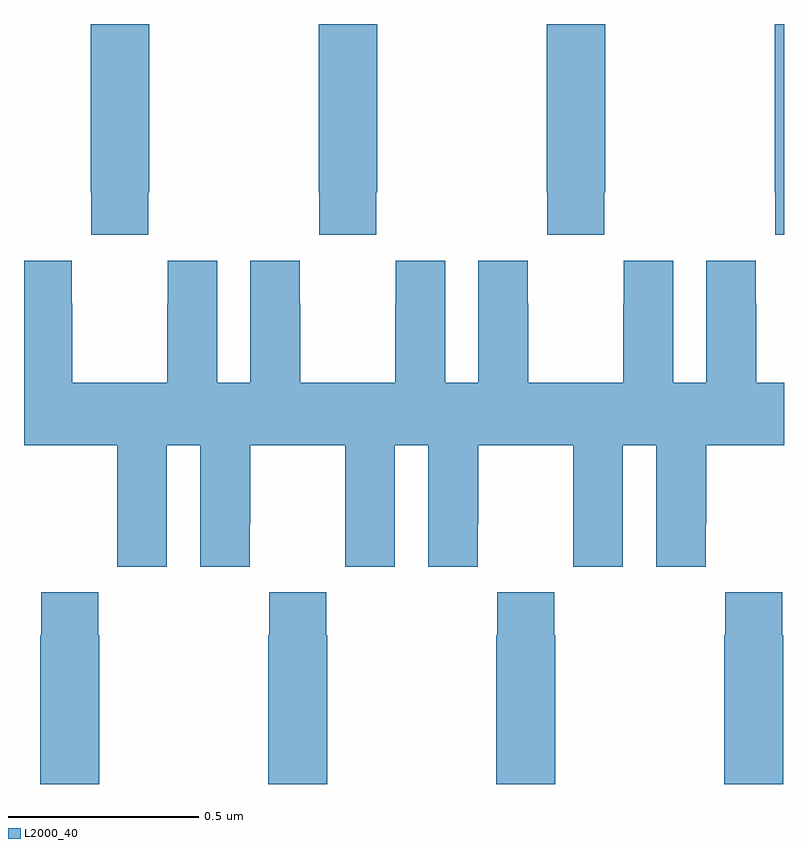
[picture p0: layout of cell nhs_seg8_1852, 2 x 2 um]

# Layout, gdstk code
import gdstk
lib = gdstk.Library(unit=1e-6, precision=1e-09)
def P(c, l, *ps):  # polygons
    for p in ps: c.add(gdstk.Polygon(p, *l))
L2000_40 = (2000, 40)

nhs_seg8_1852 = lib.new_cell('nhs_seg8_1852')
P(nhs_seg8_1852, L2000_40, [(136.527,1158.457),(136.53,1158.457),(136.53,1158.9),(136.375,1158.9),(136.375,1158.457),(136.377,1158.457),(136.377,1158.345),(136.527,1158.345)],
  [(135.175,1158.457),(135.177,1158.457),(135.177,1158.345),(135.327,1158.345),(135.327,1158.457),(135.33,1158.457),(135.33,1158.9),(135.175,1158.9)],
  [(137,1158.9),(136.975,1158.9),(136.975,1158.457),(136.977,1158.457),(136.977,1158.345),(137,1158.345)],
  [(135.927,1158.457),(135.93,1158.457),(135.93,1158.9),(135.775,1158.9),(135.775,1158.457),(135.777,1158.457),(135.777,1158.345),(135.927,1158.345)],
  [(135.376,1157.792),(135.464,1157.792),(135.464,1157.472),(135.594,1157.472),(135.594,1157.584),(135.595,1157.584),(135.595,1157.792),(135.845,1157.792),(135.845,1157.584),(135.846,1157.584),(135.846,1157.472),(135.976,1157.472),(135.976,1157.792),(136.064,1157.792),(136.064,1157.472),(136.194,1157.472),(136.194,1157.584),(136.195,1157.584),(136.195,1157.792),(136.445,1157.792),(136.445,1157.584),(136.446,1157.584),(136.446,1157.472),(136.576,1157.472),(136.576,1157.792),(136.664,1157.792),(136.664,1157.472),(136.794,1157.472),(136.794,1157.584),(136.795,1157.584),(136.795,1157.792),(137,1157.792),(137,1157.956),(136.927,1157.956),(136.927,1158.164),(136.926,1158.164),(136.926,1158.277),(136.796,1158.277),(136.796,1157.956),(136.708,1157.956),(136.708,1158.277),(136.578,1158.277),(136.578,1158.164),(136.577,1158.164),(136.577,1157.956),(136.327,1157.956),(136.327,1158.164),(136.326,1158.164),(136.326,1158.277),(136.196,1158.277),(136.196,1157.956),(136.108,1157.956),(136.108,1158.277),(135.978,1158.277),(135.978,1158.164),(135.977,1158.164),(135.977,1157.956),(135.727,1157.956),(135.727,1158.164),(135.726,1158.164),(135.726,1158.277),(135.596,1158.277),(135.596,1157.956),(135.508,1157.956),(135.508,1158.277),(135.378,1158.277),(135.378,1158.164),(135.377,1158.164),(135.377,1157.956),(135.127,1157.956),(135.127,1158.164),(135.126,1158.164),(135.126,1158.277),(135,1158.277),(135,1157.792),(135.245,1157.792),(135.245,1157.584),(135.246,1157.584),(135.246,1157.472),(135.376,1157.472)],
  [(135.045,1157.291),(135.043,1157.291),(135.043,1156.9),(135.198,1156.9),(135.198,1157.291),(135.195,1157.291),(135.195,1157.404),(135.045,1157.404)],
  [(136.998,1157.291),(136.995,1157.291),(136.995,1157.404),(136.845,1157.404),(136.845,1157.291),(136.843,1157.291),(136.843,1156.9),(136.998,1156.9)],
  [(136.398,1157.291),(136.395,1157.291),(136.395,1157.404),(136.245,1157.404),(136.245,1157.291),(136.243,1157.291),(136.243,1156.9),(136.398,1156.9)],
  [(135.798,1157.291),(135.795,1157.291),(135.795,1157.404),(135.645,1157.404),(135.645,1157.291),(135.643,1157.291),(135.643,1156.9),(135.798,1156.9)])

lib.write_gds('nhs_seg8_1852.gds')
